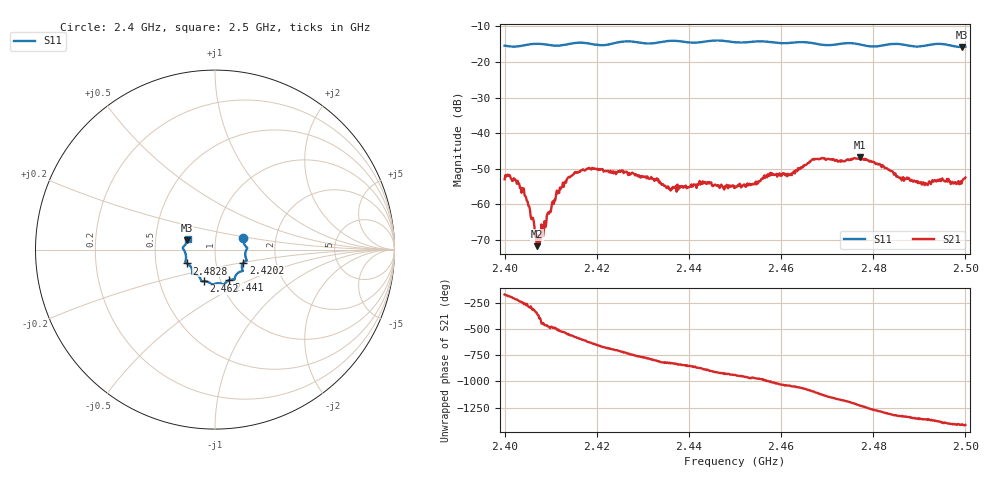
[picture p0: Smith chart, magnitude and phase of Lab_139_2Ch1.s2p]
# Hz S RI R 50
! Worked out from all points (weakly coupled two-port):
!   601 points, 2.4 GHz to 2.5 GHz, reference 50 ohm
!   highest |S21| = -46.85 dB at 2.4772 GHz (marker M1); lowest = -71.8 dB at 2.407 GHz (marker M2)
!   lowest |S11| = -15.8 dB at 2.4993 GHz (marker M3), VSWR 1.39, Z = 36.5 + j3.91 ohm
!   |S11| at or under -10 dB: start of sweep to end of sweep
!   S12 and S22 are empty: the file has one direction only
!   S11 on the Smith chart (normalised r, x): 2.4 GHz: 1.36, +0.17; 2.4202 GHz: 1.36, -0.20; 2.441 GHz: 1.10, -0.39; 2.462 GHz: 0.84, -0.30; 2.4828 GHz: 0.72, -0.11; 2.5 GHz: 0.73, +0.09
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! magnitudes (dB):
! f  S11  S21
! 2.4 GHz  -15.4  -53.0
! 2.4025 GHz  -15.6  -53.3
! 2.4043 GHz  -15.3  -57.5
! 2.407 GHz  -14.9  -71.8
! 2.408 GHz  -14.9  -65.7
! 2.4117 GHz  -15.4  -56.4
! 2.414 GHz  -14.9  -52.3
! 2.4167 GHz  -14.6  -50.5
! 2.4202 GHz  -15.2  -50.0
! 2.4333 GHz  -14.5  -52.9
! 2.4362 GHz  -14.0  -55.6
! 2.441 GHz  -14.6  -54.4
! 2.45 GHz  -14.4  -55.0
! 2.4577 GHz  -14.4  -51.1
! 2.462 GHz  -14.6  -51.7
! 2.4667 GHz  -14.6  -47.6
! 2.4772 GHz  -15.1  -46.8
! 2.4828 GHz  -15.1  -49.9
! 2.4833 GHz  -15.0  -50.3
! 2.491 GHz  -15.5  -54.0
! 2.4993 GHz  -15.8  -53.3
! 2.5 GHz  -15.7  -52.5
